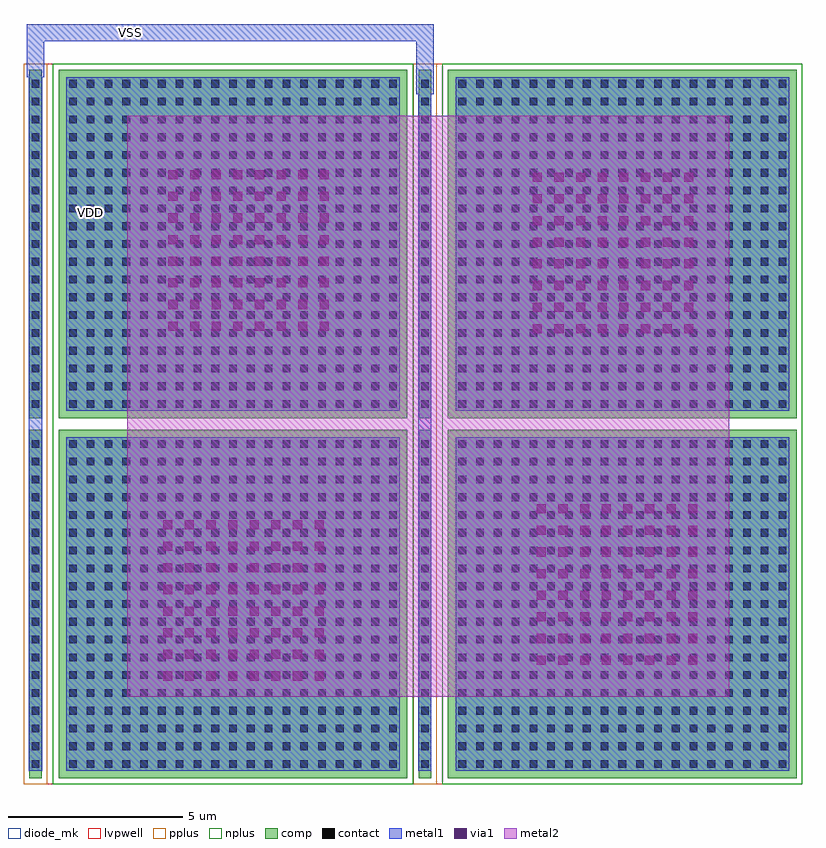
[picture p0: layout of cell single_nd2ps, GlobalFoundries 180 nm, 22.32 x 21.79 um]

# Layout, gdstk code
import gdstk
lib = gdstk.Library(unit=1e-6, precision=1e-09)
def R(c, l, rs):  # rectangles x0, y0, x1, y1
    for r in rs: c.add(gdstk.rectangle(r[:2], r[2:], *l))
def A(c, l, x, y, w, h, nx, ny, dx, dy):  # array of equal rectangles
    R(c, l, [(x+i*dx, y+j*dy, x+i*dx+w, y+j*dy+h) for i in range(nx) for j in range(ny)])
comp = (22, 0)
pplus = (31, 0)
nplus = (32, 0)
contact = (33, 0)
metal1 = (34, 0)
via1 = (35, 0)
metal2 = (36, 0)
diode_mk = (115, 5)
lvpwell = (204, 0)

diode_nd2ps = lib.new_cell('diode_nd2ps')
R(diode_nd2ps, comp, [(-0.84,0,-0.48,10), (0,0,10,10)])
R(diode_nd2ps, pplus, [(-1,-0.16,-0.32,10.16)])
R(diode_nd2ps, nplus, [(-0.16,-0.16,10.16,10.16)])
A(diode_nd2ps, contact, -0.77, 0.3, 0.22, 0.22, 1, 19, 0, 0.51)
A(diode_nd2ps, contact, 0.3, 0.3, 0.22, 0.22, 19, 19, 0.51, 0.51)
R(diode_nd2ps, metal1, [(-0.85,0.22,-0.47,9.78), (0.22,0.22,9.78,9.78)])
R(diode_nd2ps, diode_mk, [(-1,-0.16,10.16,10.16)])
R(diode_nd2ps, lvpwell, [(-1,-0.16,10.16,10.16)])

via_dev = lib.new_cell('via_dev')
R(via_dev, metal1, [(0,0,5,5)])
A(via_dev, via1, 0.2, 0.2, 0.26, 0.26, 8, 8, 0.62, 0.62)
R(via_dev, metal2, [(0,0,5,5)])

single_nd2ps = lib.new_cell('single_nd2ps')
R(single_nd2ps, metal1, [(0.1,-1.005,0.48,0.075), (11.26,-0.97,11.64,0.25)])
R(single_nd2ps, metal2, [(2.915,-8.29,20.17,8.37)])
single_nd2ps.add(gdstk.FlexPath([(0.295,9.47),(0.295,10.745),(11.46,10.745),(11.46,8.98),(11.46,8.98)], 0.5, ends="flush", simple_path=True, layer=34, datatype=0))  # metal1
single_nd2ps.add(gdstk.FlexPath([(0.295,9.47),(0.295,10.745),(11.46,10.745),(11.46,8.98),(11.46,8.98)], 0.5, ends="flush", simple_path=True, layer=34, datatype=0))  # metal1
single_nd2ps.add(gdstk.Reference(diode_nd2ps, (0.95,-0.31)))
single_nd2ps.add(gdstk.Reference(diode_nd2ps, (12.11,-0.31)))
single_nd2ps.add(gdstk.Reference(diode_nd2ps, (0.95,-10.63)))
single_nd2ps.add(gdstk.Reference(diode_nd2ps, (12.11,-10.63)))
single_nd2ps.add(gdstk.Reference(via_dev, (3.9,2.005)))
single_nd2ps.add(gdstk.Reference(via_dev, (3.75,-8.025)))
single_nd2ps.add(gdstk.Reference(via_dev, (14.345,1.93)))
single_nd2ps.add(gdstk.Reference(via_dev, (14.46,-7.57)))
single_nd2ps.add(gdstk.Label('VDD', (1.865,5.6), layer=34, texttype=10))
single_nd2ps.add(gdstk.Label('VSS', (3.005,10.745), layer=34, texttype=10))

lib.write_gds('single_nd2ps.gds')
